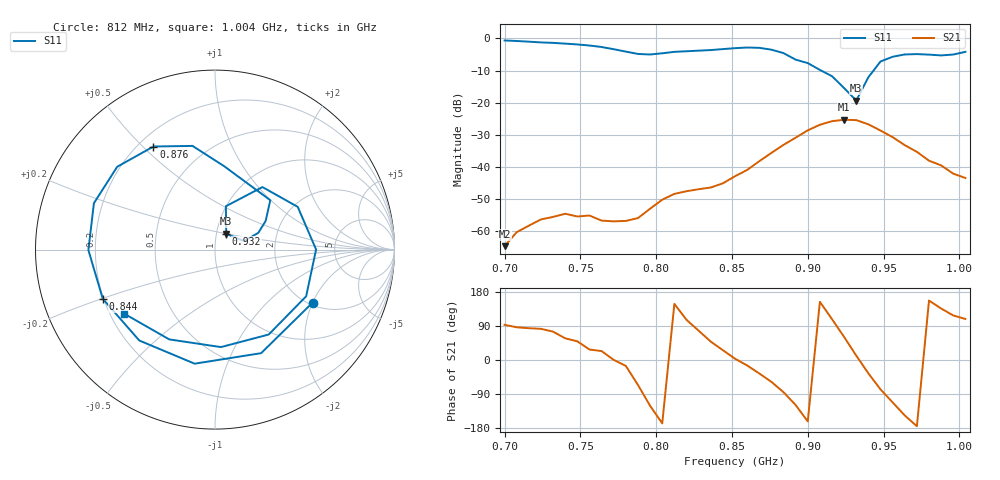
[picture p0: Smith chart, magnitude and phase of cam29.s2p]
# Hz S RI R 50
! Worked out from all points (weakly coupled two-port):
!   39 points, 700 MHz to 1.004 GHz, reference 50 ohm
!   highest |S21| = -25.33 dB at 924 MHz (marker M1); lowest = -64.7 dB at 700 MHz (marker M2)
!   lowest |S11| = -19.3 dB at 932 MHz (marker M3), VSWR 1.24, Z = 55.7 + j9.91 ohm
!   |S11| at or under -10 dB: 908.8 MHz to 943.4 MHz (34.56 MHz wide, 3.73 % of centre)
!   S12 and S22 are empty: the file has one direction only
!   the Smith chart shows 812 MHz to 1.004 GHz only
!   S11 on the Smith chart (normalised r, x): 812 MHz: 2.09, -2.00; 844 MHz: 0.20, -0.20; 876 MHz: 0.26, +0.54; 932 MHz: 1.11, +0.20; 1.004 GHz: 0.26, -0.30
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7e8  0.7648 0.5297  -2.82e-05 0.000581  0 0  0 0
7.24e8  0.828 -0.2581  0.000206 0.00151  0 0  0 0
7.4e8  0.447 -0.7001  0.00101 0.00156  0 0  0 0
7.56e8  -0.1961 -0.751  0.00155 0.000811  0 0  0 0
7.72e8  -0.6518 -0.193  0.00142 6.53e-06  0 0  0 0
7.8e8  -0.5797 0.2306  0.00139 -0.000391  0 0  0 0
7.88e8  -0.2279 0.5261  0.000648 -0.00146  0 0  0 0
7.96e8  0.2528 0.5023  -0.00115 -0.00191  0 0  0 0
8.04e8  0.5672 0.1522  -0.00301 -0.000687  0 0  0 0
8.12e8  0.5438 -0.2953  -0.00322 0.00201  0 0  0 0
8.28e8  -0.1133 -0.6356  0.000982 0.00438  0 0  0 0
8.44e8  -0.6253 -0.2739  0.00499 0.00242  0 0  0 0
8.52e8  -0.7055 -0.0026  0.00712 0.000426  0 0  0 0
8.76e8  -0.3426 0.5744  0.00882 -0.0139  0 0  0 0
9e8  0.3081 0.2751  -0.0352 -0.0114  0 0  0 0
9.08e8  0.282 0.159  -0.0405 0.0202  0 0  0 0
9.24e8  0.1617 0.0476  0.0265 0.0472  0 0  0 0
9.32e8  0.0624 0.0879  0.0524 0.0107  0 0  0 0
9.48e8  0.2642 0.3485  0.00797 -0.0359  0 0  0 0
9.56e8  0.4609 0.2382  -0.0108 -0.0269  0 0  0 0
9.8e8  0.2994 -0.4731  -0.0115 0.00489  0 0  0 0
1.004e9  -0.5047 -0.3576  -0.00211 0.00637  0 0  0 0
